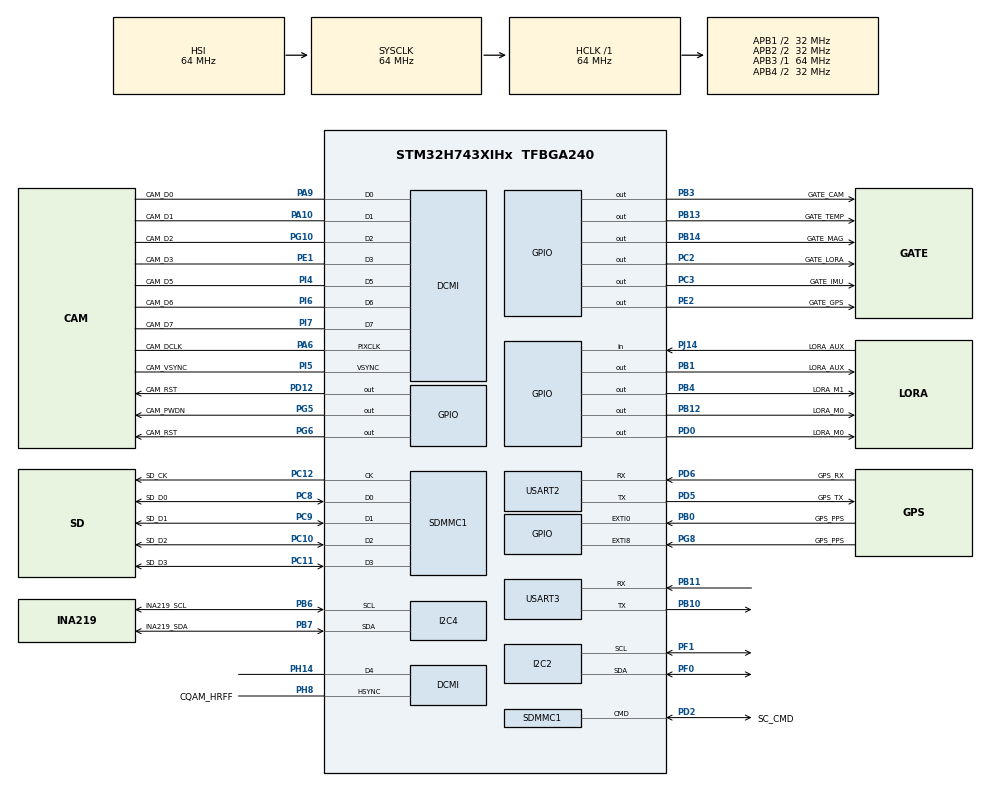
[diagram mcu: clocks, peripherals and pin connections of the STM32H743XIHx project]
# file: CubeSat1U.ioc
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CORTEX_M7.default_mode_Activation=1
Dma.DCMI.0.Direction=DMA_PERIPH_TO_MEMORY
Dma.DCMI.0.EventEnable=DISABLE
Dma.DCMI.0.FIFOMode=DMA_FIFOMODE_DISABLE
Dma.DCMI.0.Instance=DMA1_Stream0
Dma.DCMI.0.MemDataAlignment=DMA_MDATAALIGN_WORD
Dma.DCMI.0.MemInc=DMA_MINC_ENABLE
Dma.DCMI.0.Mode=DMA_NORMAL
Dma.DCMI.0.PeriphDataAlignment=DMA_PDATAALIGN_WORD
Dma.DCMI.0.PeriphInc=DMA_PINC_DISABLE
Dma.DCMI.0.Polarity=HAL_DMAMUX_REQ_GEN_RISING
Dma.DCMI.0.Priority=DMA_PRIORITY_LOW
Dma.DCMI.0.RequestNumber=1
Dma.DCMI.0.SignalID=NONE
Dma.DCMI.0.SyncEnable=DISABLE
Dma.DCMI.0.SyncPolarity=HAL_DMAMUX_SYNC_NO_EVENT
Dma.DCMI.0.SyncRequestNumber=1
Dma.DCMI.0.SyncSignalID=NONE
Dma.Request0=DCMI
FREERTOS.Tasks01=defaultTask,24,128,StartDefaultTask,Default,NULL,Dynamic,NULL,NULL
I2C2.Timing=0x00707CBB
I2C4.Timing=0x00707CBB
Mcu.Family=STM32H7
Mcu.Name=STM32H743XIHx
Mcu.Package=TFBGA240
NVIC.DMA1_Stream0_IRQn=true\:5\:0\:false\:false\:true\:true\:false\:true\:true
NVIC.PriorityGroup=NVIC_PRIORITYGROUP_4
NVIC.RTC_WKUP_IRQn=true\:5\:0\:false\:false\:true\:true\:true\:true\:true
NVIC.TIM1_UP_IRQn=true\:15\:0\:false\:false\:true\:false\:false\:true\:true
NVIC.TimeBase=TIM1_UP_IRQn
NVIC.TimeBaseIP=TIM1
NVIC.USART2_IRQn=true\:5\:0\:false\:false\:true\:true\:true\:true\:true
PA10.GPIO_Label=CAM_D1
PA10.Mode=Slave_8_bits_External_Synchro
PA10.Signal=DCMI_D1
PA6.GPIO_Label=CAM_DCLK
PA6.Mode=Slave_8_bits_External_Synchro
PA6.Signal=DCMI_PIXCLK
PA9.GPIO_Label=CAM_D0
PA9.Mode=Slave_8_bits_External_Synchro
PA9.Signal=DCMI_D0
PB0.GPIO_Label=GPS_PPS
PB0.Signal=GPXTI0
PB1.GPIO_Label=LORA_AUX
PB1.Signal=GPIO_Output
PB10.Mode=Asynchronous
PB10.Signal=USART3_TX
PB11.Mode=Asynchronous
PB11.Signal=USART3_RX
PB12.GPIO_Label=LORA_M0
PB12.Signal=GPIO_Output
PB13.GPIO_Label=GATE_TEMP
PB13.Signal=GPIO_Output
PB14.GPIO_Label=GATE_MAG
PB14.Signal=GPIO_Output
PB3\ (JTDO/TRACESWO).GPIO_Label=GATE_CAM
PB3\ (JTDO/TRACESWO).Signal=GPIO_Output
PB4\ (NJTRST).GPIO_Label=LORA_M1
PB4\ (NJTRST).Signal=GPIO_Output
PB6.GPIO_Label=INA219_SCL
PB6.Mode=I2C
PB6.Signal=I2C4_SCL
PB7.GPIO_Label=INA219_SDA
PB7.Mode=I2C
PB7.Signal=I2C4_SDA
PC10.GPIO_Label=SD_D2
PC10.Mode=SD_4_bits_Wide_bus
PC10.Signal=SDMMC1_D2
PC11.GPIO_Label=SD_D3
PC11.Mode=SD_4_bits_Wide_bus
PC11.Signal=SDMMC1_D3
PC12.GPIO_Label=SD_CK
PC12.Mode=SD_4_bits_Wide_bus
PC12.Signal=SDMMC1_CK
PC2.GPIO_Label=GATE_LORA
PC2.Signal=GPIO_Output
PC3.GPIO_Label=GATE_IMU
PC3.Signal=GPIO_Output
PC8.GPIO_Label=SD_D0
PC8.Mode=SD_4_bits_Wide_bus
PC8.Signal=SDMMC1_D0
PC9.GPIO_Label=SD_D1
PC9.Mode=SD_4_bits_Wide_bus
PC9.Signal=SDMMC1_D1
PD0.GPIO_Label=LORA_M0
PD0.Signal=GPIO_Output
PD12.GPIO_Label=CAM_RST
PD12.Signal=GPIO_Output
PD2.GPIO_Label=SC_CMD
PD2.Mode=SD_4_bits_Wide_bus
PD2.Signal=SDMMC1_CMD
PD5.GPIO_Label=GPS_TX
PD5.Mode=Asynchronous
PD5.Signal=USART2_TX
PD6.GPIO_Label=GPS_RX
PD6.Mode=Asynchronous
PD6.Signal=USART2_RX
PE1.GPIO_Label=CAM_D3
PE1.Mode=Slave_8_bits_External_Synchro
PE1.Signal=DCMI_D3
PE2.GPIO_Label=GATE_GPS
PE2.Signal=GPIO_Output
PF0.Mode=I2C
PF0.Signal=I2C2_SDA
PF1.Mode=I2C
PF1.Signal=I2C2_SCL
PG10.GPIO_Label=CAM_D2
PG10.Mode=Slave_8_bits_External_Synchro
PG10.Signal=DCMI_D2
PG5.GPIO_Label=CAM_PWDN
PG5.Signal=GPIO_Output
PG6.GPIO_Label=CAM_RST
PG6.Signal=GPIO_Output
PG8.GPIO_Label=GPS_PPS
PG8.Signal=GPXTI8
PH14.Mode=Slave_8_bits_External_Synchro
PH14.Signal=DCMI_D4
PH8.GPIO_Label=CQAM_HRFF
PH8.Mode=Slave_8_bits_External_Synchro
PH8.Signal=DCMI_HSYNC
PI4.GPIO_Label=CAM_D5
PI4.Mode=Slave_8_bits_External_Synchro
PI4.Signal=DCMI_D5
PI5.GPIO_Label=CAM_VSYNC
PI5.Mode=Slave_8_bits_External_Synchro
PI5.Signal=DCMI_VSYNC
PI6.GPIO_Label=CAM_D6
PI6.Mode=Slave_8_bits_External_Synchro
PI6.Signal=DCMI_D6
PI7.GPIO_Label=CAM_D7
PI7.Mode=Slave_8_bits_External_Synchro
PI7.Signal=DCMI_D7
PJ14.GPIO_Label=LORA_AUX
PJ14.Signal=GPIO_Input
ProjectManager.HeapSize=0x200
ProjectManager.StackSize=0x400
ProjectManager.TargetToolchain=Makefile
RCC.ADCFreq_Value=129000000
RCC.APB1Freq_Value=32000000
RCC.APB2Freq_Value=32000000
RCC.APB3Freq_Value=64000000
RCC.APB4Freq_Value=32000000
RCC.CortexFreq_Value=64000000
RCC.D2PPRE1=RCC_APB1_DIV2
RCC.D2PPRE2=RCC_APB2_DIV2
RCC.D3PPRE=RCC_APB4_DIV2
RCC.DIVM1=4
RCC.DIVN1=10
RCC.HCLKFreq_Value=64000000
RCC.PLLFRACN=0
RCC.SYSCLKFreq_VALUE=64000000
RCC.USBFreq_Value=80000000
RTC.WakeUpClock-WakeUp=RTC_WAKEUPCLOCK_CK_SPRE_16BITS
SDMMC1.ClockDiv=8
SDMMC1.ClockPowerSave=SDMMC_CLOCK_POWER_SAVE_DISABLE
SDMMC1.HardwareFlowControl=SDMMC_HARDWARE_FLOW_CONTROL_DISABLE
USART2.VirtualMode-Asynchronous=VM_ASYNC
USART3.VirtualMode-Asynchronous=VM_ASYNC
VP_FATFS_VS_SDIO.Mode=SDIO
VP_FREERTOS_VS_CMSIS_V2.Mode=CMSIS_V2
VP_MEMORYMAP_VS_MEMORYMAP.Mode=CurAppReg
VP_RTC_VS_RTC_Activate.Mode=RTC_Enabled
VP_RTC_VS_RTC_Calendar.Mode=RTC_Calendar
VP_RTC_VS_RTC_WakeUp_intern.Mode=WakeUp
VP_SYS_VS_tim1.Mode=TIM1
board=custom

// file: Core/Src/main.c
/* USER CODE BEGIN Header */
/**
  ******************************************************************************
  * @file           : main.c
  * @brief          : Main program body
  ******************************************************************************
  * @attention
  *
  * Copyright (c) 2025 STMicroelectronics.
  * All rights reserved.
  *
  * This software is licensed under terms that can be found in the LICENSE file
  * in the root directory of this software component.
  * If no LICENSE file comes with this software, it is provided AS-IS.
  *
  ******************************************************************************
  */
/* USER CODE END Header */
#include "main.h"
#include "cmsis_os.h"
#include "fatfs.h"

/* USER CODE BEGIN Includes */
#include "hardware.h"
#include "sdcard.h"
#include <stdio.h>
#include <string.h>
/* USER CODE END Includes */

/* USER CODE BEGIN PD */
FATFS fs;
/* USER CODE END PD */

DCMI_HandleTypeDef hdcmi;
DMA_HandleTypeDef hdma_dcmi;

I2C_HandleTypeDef hi2c2;
I2C_HandleTypeDef hi2c4;

RTC_HandleTypeDef hrtc;

SD_HandleTypeDef hsd1;

UART_HandleTypeDef huart2;
UART_HandleTypeDef huart3;

/* Definitions for defaultTask */
osThreadId_t defaultTaskHandle;
const osThreadAttr_t defaultTask_attributes = {
  .name = "defaultTask",
  .stack_size = 128 * 4,
  .priority = (osPriority_t) osPriorityNormal,
};

void SystemClock_Config(void);
static void MPU_Config(void);
static void MX_GPIO_Init(void);
static void MX_DMA_Init(void);
static void MX_USART2_UART_Init(void);
static void MX_I2C4_Init(void);
static void MX_I2C2_Init(void);
static void MX_DCMI_Init(void);
static void MX_SDMMC1_SD_Init(void);
static void MX_USART3_UART_Init(void);
static void MX_RTC_Init(void);
void StartDefaultTask(void *argument);

int main(void)
{

  /* MPU Configuration--------------------------------------------------------*/
  MPU_Config();

  /* MCU Configuration--------------------------------------------------------*/

  /* Reset of all peripherals, Initializes the Flash interface and the Systick. */
  HAL_Init();

  /* USER CODE BEGIN Init */
	//SCB_DisableDCache();
  /* USER CODE END Init */

  /* Configure the system clock */
  SystemClock_Config();

  /* Initialize all configured peripherals */
  MX_GPIO_Init();
  MX_DMA_Init();
  MX_USART2_UART_Init();
  MX_I2C4_Init();
  MX_I2C2_Init();
  MX_DCMI_Init();
  MX_SDMMC1_SD_Init();
  MX_FATFS_Init();
  MX_USART3_UART_Init();
  MX_RTC_Init();
  /* USER CODE BEGIN 2 */
	Hardware_UART_Printf("\r\n=== SD Card Test ===\r\n");
    Hardware_UART_Printf("NOTE: If mount fails, check:\r\n");
    Hardware_UART_Printf("  1. SD card formatted as FAT32\r\n");
    Hardware_UART_Printf("  2. Use sd_diskio_fixed.c for alignment\r\n");
    Hardware_UART_Printf("\r\n");

    // Kiểm tra SD Detect Pin (nếu có)
    Hardware_UART_Printf("0. Check SD Detect Pin...");
    // Nếu bạn có SD_DETECT_PIN, uncomment dòng sau:
    // HAL_GPIO_ReadPin(SD_DETECT_GPIO_Port, SD_DETECT_Pin);
    Hardware_UART_Printf("Skip\r\n");

    // Delay để SD card khởi động
    Hardware_UART_Printf("   Waiting for SD card ready...");
    HAL_Delay(1000);
    Hardware_UART_Printf("Done\r\n");

    // Kiểm tra BSP SD driver
    Hardware_UART_Printf("1. Check BSP SD Init...");
    uint8_t bsp_status = BSP_SD_Init();
    Hardware_UART_Printf("Result=%d ", bsp_status);

    if (bsp_status == MSD_OK) {
        Hardware_UART_Printf("(OK)\r\n");

        // Kiểm tra SD card info
        BSP_SD_CardInfo CardInfo;
        BSP_SD_GetCardInfo(&CardInfo);
        Hardware_UART_Printf("   Card Type: %lu\r\n", CardInfo.CardType);
        Hardware_UART_Printf("   Card Version: %lu\r\n", CardInfo.CardVersion);
        Hardware_UART_Printf("   Card Size: %lu MB\r\n",
               (CardInfo.LogBlockNbr * CardInfo.LogBlockSize) / (1024*1024));
    } else {
        Hardware_UART_Printf("(FAIL)\r\n");
        Hardware_UART_Printf("   Error codes:\r\n");
        Hardware_UART_Printf("   1 = MSD_ERROR (No SD card detected)\r\n");
        Hardware_UART_Printf("   2 = MSD_ERROR_SD_NOT_PRESENT\r\n");
        Hardware_UART_Printf("\r\n");
        Hardware_UART_Printf("   Solutions:\r\n");
        Hardware_UART_Printf("   - Check SD card is inserted\r\n");
        Hardware_UART_Printf("   - Check SDMMC pins in CubeMX\r\n");
        Hardware_UART_Printf("   - Try different SD card\r\n");
        Hardware_UART_Printf("   - Reduce SDMMC clock speed\r\n");
    }

    HAL_Delay(100);

    /* Detailed Debug */
    Hardware_UART_Printf("\r\n=== Detailed Mount Debug ===\r\n");

    // Test 1: Disk driver
    Hardware_UART_Printf("1. Testing disk driver...\r\n");
    DSTATUS dstatus = disk_initialize(0);
    Hardware_UART_Printf("   disk_initialize(0) = 0x%02X\r\n", dstatus);
    if (dstatus == 0) {
        Hardware_UART_Printf("   [OK] Disk ready\r\n");
    } else {
        Hardware_UART_Printf("   [FAIL] Disk error:\r\n");
        if (dstatus & 0x01) Hardware_UART_Printf("     - STA_NOINIT: Not initialized\r\n");
        if (dstatus & 0x02) Hardware_UART_Printf("     - STA_NODISK: No disk\r\n");
        if (dstatus & 0x04) Hardware_UART_Printf("     - STA_PROTECT: Write protected\r\n");
    }

    // Test 2: Mount
    Hardware_UART_Printf("\r\n2. Testing f_mount...\r\n");
    FRESULT fres = f_mount(&fs, "0:", 1);
    Hardware_UART_Printf("   f_mount result = %d\r\n", fres);

    switch(fres) {
        case FR_OK:
            Hardware_UART_Printf("   [OK] Mounted!\r\n");
            break;
        case FR_DISK_ERR:
            Hardware_UART_Printf("   [FAIL] FR_DISK_ERR (1) - Hardware error\r\n");
            break;
        case FR_NOT_READY:
            Hardware_UART_Printf("   [FAIL] FR_NOT_READY (3) - Disk not ready\r\n");
            break;
        case FR_NO_FILESYSTEM:
            Hardware_UART_Printf("   [FAIL] FR_NO_FILESYSTEM (13)\r\n");
            Hardware_UART_Printf("   *** SD CARD NOT FORMATTED AS FAT32! ***\r\n");
            Hardware_UART_Printf("   *** FORMAT IT ON PC AS FAT32 ***\r\n");
            break;
        case FR_INVALID_DRIVE:
            Hardware_UART_Printf("   [FAIL] FR_INVALID_DRIVE (11)\r\n");
            break;
        default:
            Hardware_UART_Printf("   [FAIL] Error: %d\r\n", fres);
            break;
    }

    // Test 3: Read sector (dùng static buffer để tránh lỗi alignment)
    if (dstatus == 0) {
        Hardware_UART_Printf("\r\n3. Testing disk read...\r\n");
        static uint8_t test_buffer[512] __attribute__((aligned(32)));
        DRESULT dres = disk_read(0, test_buffer, 0, 1);
        Hardware_UART_Printf("   disk_read = %d ", dres);
        if (dres == RES_OK) {
            Hardware_UART_Printf("OK\r\n");
            Hardware_UART_Printf("   Sector 0: %02X %02X %02X %02X...\r\n",
                   test_buffer[0], test_buffer[1], test_buffer[2], test_buffer[3]);
        } else {
            Hardware_UART_Printf("FAIL\r\n");
        }
    }

    Hardware_UART_Printf("\r\n======================\r\n\r\n");

    /* Test SD Card */
    sd_status_t status;
    uint8_t data[100];
    uint32_t len;

    // 2. Mount filesystem
    Hardware_UART_Printf("2. Mount SD...");
    status = SD_Init();
    if (status == SD_OK) {
        Hardware_UART_Printf("OK\r\n");
    } else {
        Hardware_UART_Printf("FAIL (%d)\r\n", status);

        // Debug chi tiết FRESULT
        Hardware_UART_Printf("\r\n=== FatFS Mount Debug ===\r\n");
        FRESULT fres = f_mount(&fs, "0:", 1);
        Hardware_UART_Printf("f_mount FRESULT = %d\r\n", fres);
        Hardware_UART_Printf("\r\nFRESULT codes:\r\n");
        Hardware_UART_Printf("  0 = FR_OK (Success)\r\n");
        Hardware_UART_Printf("  1 = FR_DISK_ERR (Hardware error)\r\n");
        Hardware_UART_Printf("  2 = FR_INT_ERR (Assert failed)\r\n");
        Hardware_UART_Printf("  3 = FR_NOT_READY (Disk not ready)\r\n");
        Hardware_UART_Printf("  4 = FR_NO_FILE\r\n");
        Hardware_UART_Printf("  5 = FR_NO_PATH\r\n");
        Hardware_UART_Printf("  6 = FR_INVALID_NAME\r\n");
        Hardware_UART_Printf("  7 = FR_DENIED\r\n");
        Hardware_UART_Printf("  8 = FR_EXIST\r\n");
        Hardware_UART_Printf("  9 = FR_INVALID_OBJECT\r\n");
        Hardware_UART_Printf(" 10 = FR_WRITE_PROTECTED\r\n");
        Hardware_UART_Printf(" 11 = FR_INVALID_DRIVE\r\n");
        Hardware_UART_Printf(" 12 = FR_NOT_ENABLED\r\n");
        Hardware_UART_Printf(" 13 = FR_NO_FILESYSTEM (Not formatted FAT)\r\n");
        Hardware_UART_Printf(" 14 = FR_MKFS_ABORTED\r\n");
        Hardware_UART_Printf(" 15 = FR_TIMEOUT\r\n");

        // Test disk_initialize
        Hardware_UART_Printf("\r\n=== Disk Driver Test ===\r\n");
        DSTATUS disk_stat = disk_initialize(0);
        Hardware_UART_Printf("disk_initialize = 0x%02X\r\n", disk_stat);
        Hardware_UART_Printf("  0x00 = OK\r\n");
        Hardware_UART_Printf("  0x01 = STA_NOINIT (Not initialized)\r\n");
        Hardware_UART_Printf("  0x02 = STA_NODISK (No disk)\r\n");
        Hardware_UART_Printf("  0x04 = STA_PROTECT (Write protected)\r\n");

        // Thử format nếu không có filesystem
        if (fres == FR_NO_FILESYSTEM) {
            Hardware_UART_Printf("\r\n=== No filesystem detected ===\r\n");
            Hardware_UART_Printf("SD card needs to be formatted as FAT32\r\n");
            Hardware_UART_Printf("Options:\r\n");
            Hardware_UART_Printf("  1. Format on PC as FAT32\r\n");
            Hardware_UART_Printf("  2. Or try f_mkfs() to format here\r\n");
        }

        while(1);
    }

    // 2. Ghi dữ liệu
    Hardware_UART_Printf("2. Write data...");
    for (int i = 0; i < 100; i++) {
        data[i] = i;
    }
    status = SD_WriteScience(data, 100);
    Hardware_UART_Printf("%s\r\n", (status == SD_OK) ? "OK" : "FAIL");

    // 3. Đọc lại
    Hardware_UART_Printf("3. Read data...");
    len = 100;
    status = SD_ReadScience(data, &len);
    if (status == SD_OK) {
        Hardware_UART_Printf("OK (%lu bytes)\r\n", len);

        // Kiểm tra dữ liệu
        uint8_t ok = 1;
        for (int i = 0; i < 100; i++) {
            if (data[i] != i) {
                ok = 0;
                Hardware_UART_Printf("   Error at byte %d\r\n", i);
                break;
            }
        }
        if (ok) Hardware_UART_Printf("   Data verified OK\r\n");
    } else {
        Hardware_UART_Printf("FAIL\r\n");
    }

    // 4. Xem thông tin
    uint32_t free = SD_GetFreeKB();
    uint32_t used = SD_GetUsedKB();
    Hardware_UART_Printf("4. Info:\r\n");
    Hardware_UART_Printf("   Free: %lu KB\r\n", free);
    Hardware_UART_Printf("   Used: %lu KB\r\n", used);

    Hardware_UART_Printf("\r\n=== Test Done ===\r\n");
  /* USER CODE END 2 */

  /* Init scheduler */
  osKernelInitialize();

  /* Create the thread(s) */
  /* creation of defaultTask */
  defaultTaskHandle = osThreadNew(StartDefaultTask, NULL, &defaultTask_attributes);

  /* Start scheduler */
  osKernelStart();

  /* We should never get here as control is now taken by the scheduler */

  /* Infinite loop */
  /* USER CODE BEGIN WHILE */
  while (1)
  {
		HAL_Delay(1000);
    /* USER CODE END WHILE */

  }
}

void SystemClock_Config(void)
{
  RCC_OscInitTypeDef RCC_OscInitStruct = {0};
  RCC_ClkInitTypeDef RCC_ClkInitStruct = {0};

  /** Supply configuration update enable
  */
  HAL_PWREx_ConfigSupply(PWR_LDO_SUPPLY);

  /** Configure the main internal regulator output voltage
  */
  __HAL_PWR_VOLTAGESCALING_CONFIG(PWR_REGULATOR_VOLTAGE_SCALE3);

  while(!__HAL_PWR_GET_FLAG(PWR_FLAG_VOSRDY)) {}

  /** Initializes the RCC Oscillators according to the specified parameters
  * in the RCC_OscInitTypeDef structure.
  */
  RCC_OscInitStruct.OscillatorType = RCC_OSCILLATORTYPE_HSI|RCC_OSCILLATORTYPE_LSI;
  RCC_OscInitStruct.HSIState = RCC_HSI_DIV1;
  RCC_OscInitStruct.HSICalibrationValue = RCC_HSICALIBRATION_DEFAULT;
  RCC_OscInitStruct.LSIState = RCC_LSI_ON;
  RCC_OscInitStruct.PLL.PLLState = RCC_PLL_ON;
  RCC_OscInitStruct.PLL.PLLSource = RCC_PLLSOURCE_HSI;
  RCC_OscInitStruct.PLL.PLLM = 4;
  RCC_OscInitStruct.PLL.PLLN = 10;
  RCC_OscInitStruct.PLL.PLLP = 2;
  RCC_OscInitStruct.PLL.PLLQ = 2;
  RCC_OscInitStruct.PLL.PLLR = 2;
  RCC_OscInitStruct.PLL.PLLRGE = RCC_PLL1VCIRANGE_3;
  RCC_OscInitStruct.PLL.PLLVCOSEL = RCC_PLL1VCOMEDIUM;
  RCC_OscInitStruct.PLL.PLLFRACN = 0;
  if (HAL_RCC_OscConfig(&RCC_OscInitStruct) != HAL_OK)
  {
    Error_Handler();
  }

  /** Initializes the CPU, AHB and APB buses clocks
  */
  RCC_ClkInitStruct.ClockType = RCC_CLOCKTYPE_HCLK|RCC_CLOCKTYPE_SYSCLK
                              |RCC_CLOCKTYPE_PCLK1|RCC_CLOCKTYPE_PCLK2
                              |RCC_CLOCKTYPE_D3PCLK1|RCC_CLOCKTYPE_D1PCLK1;
  RCC_ClkInitStruct.SYSCLKSource = RCC_SYSCLKSOURCE_HSI;
  RCC_ClkInitStruct.SYSCLKDivider = RCC_SYSCLK_DIV1;
  RCC_ClkInitStruct.AHBCLKDivider = RCC_HCLK_DIV1;
  RCC_ClkInitStruct.APB3CLKDivider = RCC_APB3_DIV1;
  RCC_ClkInitStruct.APB1CLKDivider = RCC_APB1_DIV2;
  RCC_ClkInitStruct.APB2CLKDivider = RCC_APB2_DIV2;
  RCC_ClkInitStruct.APB4CLKDivider = RCC_APB4_DIV2;

  if (HAL_RCC_ClockConfig(&RCC_ClkInitStruct, FLASH_LATENCY_1) != HAL_OK)
  {
    Error_Handler();
  }
}

static void MX_DCMI_Init(void)
{

  hdcmi.Instance = DCMI;
  hdcmi.Init.SynchroMode = DCMI_SYNCHRO_HARDWARE;
  hdcmi.Init.PCKPolarity = DCMI_PCKPOLARITY_FALLING;
  hdcmi.Init.VSPolarity = DCMI_VSPOLARITY_LOW;
  hdcmi.Init.HSPolarity = DCMI_HSPOLARITY_LOW;
  hdcmi.Init.CaptureRate = DCMI_CR_ALL_FRAME;
  hdcmi.Init.ExtendedDataMode = DCMI_EXTEND_DATA_8B;
  hdcmi.Init.JPEGMode = DCMI_JPEG_DISABLE;
  hdcmi.Init.ByteSelectMode = DCMI_BSM_ALL;
  hdcmi.Init.ByteSelectStart = DCMI_OEBS_ODD;
  hdcmi.Init.LineSelectMode = DCMI_LSM_ALL;
  hdcmi.Init.LineSelectStart = DCMI_OELS_ODD;
  if (HAL_DCMI_Init(&hdcmi) != HAL_OK)
  {
    Error_Handler();
  }

}

static void MX_I2C2_Init(void)
{

  hi2c2.Instance = I2C2;
  hi2c2.Init.Timing = 0x00707CBB;
  hi2c2.Init.OwnAddress1 = 0;
  hi2c2.Init.AddressingMode = I2C_ADDRESSINGMODE_7BIT;
  hi2c2.Init.DualAddressMode = I2C_DUALADDRESS_DISABLE;
  hi2c2.Init.OwnAddress2 = 0;
  hi2c2.Init.OwnAddress2Masks = I2C_OA2_NOMASK;
  hi2c2.Init.GeneralCallMode = I2C_GENERALCALL_DISABLE;
  hi2c2.Init.NoStretchMode = I2C_NOSTRETCH_DISABLE;
  if (HAL_I2C_Init(&hi2c2) != HAL_OK)
  {
    Error_Handler();
  }

  /** Configure Analogue filter
  */
  if (HAL_I2CEx_ConfigAnalogFilter(&hi2c2, I2C_ANALOGFILTER_ENABLE) != HAL_OK)
  {
    Error_Handler();
  }

  /** Configure Digital filter
  */
  if (HAL_I2CEx_ConfigDigitalFilter(&hi2c2, 0) != HAL_OK)
  {
    Error_Handler();
  }

}

static void MX_I2C4_Init(void)
{

  hi2c4.Instance = I2C4;
  hi2c4.Init.Timing = 0x00707CBB;
  hi2c4.Init.OwnAddress1 = 0;
  hi2c4.Init.AddressingMode = I2C_ADDRESSINGMODE_7BIT;
  hi2c4.Init.DualAddressMode = I2C_DUALADDRESS_DISABLE;
  hi2c4.Init.OwnAddress2 = 0;
  hi2c4.Init.OwnAddress2Masks = I2C_OA2_NOMASK;
  hi2c4.Init.GeneralCallMode = I2C_GENERALCALL_DISABLE;
  hi2c4.Init.NoStretchMode = I2C_NOSTRETCH_DISABLE;
  if (HAL_I2C_Init(&hi2c4) != HAL_OK)
  {
    Error_Handler();
  }

  /** Configure Analogue filter
  */
  if (HAL_I2CEx_ConfigAnalogFilter(&hi2c4, I2C_ANALOGFILTER_ENABLE) != HAL_OK)
  {
    Error_Handler();
  }

  /** Configure Digital filter
  */
  if (HAL_I2CEx_ConfigDigitalFilter(&hi2c4, 0) != HAL_OK)
  {
    Error_Handler();
  }

}

static void MX_RTC_Init(void)
{

  RTC_TimeTypeDef sTime = {0};
  RTC_DateTypeDef sDate = {0};

  /** Initialize RTC Only
  */
  hrtc.Instance = RTC;
  hrtc.Init.HourFormat = RTC_HOURFORMAT_24;
  hrtc.Init.AsynchPrediv = 127;
  hrtc.Init.SynchPrediv = 255;
  hrtc.Init.OutPut = RTC_OUTPUT_DISABLE;
  hrtc.Init.OutPutPolarity = RTC_OUTPUT_POLARITY_HIGH;
  hrtc.Init.OutPutType = RTC_OUTPUT_TYPE_OPENDRAIN;
  hrtc.Init.OutPutRemap = RTC_OUTPUT_REMAP_NONE;
  if (HAL_RTC_Init(&hrtc) != HAL_OK)
  {
    Error_Handler();
  }

  /** Initialize RTC and set the Time and Date
  */
  sTime.Hours = 0x0;
  sTime.Minutes = 0x0;
  sTime.Seconds = 0x0;
  sTime.DayLightSaving = RTC_DAYLIGHTSAVING_NONE;
  sTime.StoreOperation = RTC_STOREOPERATION_RESET;
  if (HAL_RTC_SetTime(&hrtc, &sTime, RTC_FORMAT_BCD) != HAL_OK)
  {
    Error_Handler();
  }
  sDate.WeekDay = RTC_WEEKDAY_MONDAY;
  sDate.Month = RTC_MONTH_JANUARY;
  sDate.Date = 0x1;
  sDate.Year = 0x0;

  if (HAL_RTC_SetDate(&hrtc, &sDate, RTC_FORMAT_BCD) != HAL_OK)
  {
    Error_Handler();
  }

  /** Enable the WakeUp
  */
  if (HAL_RTCEx_SetWakeUpTimer_IT(&hrtc, 0, RTC_WAKEUPCLOCK_CK_SPRE_16BITS) != HAL_OK)
  {
    Error_Handler();
  }

}

static void MX_SDMMC1_SD_Init(void)
{

  hsd1.Instance = SDMMC1;
  hsd1.Init.ClockEdge = SDMMC_CLOCK_EDGE_RISING;
  hsd1.Init.ClockPowerSave = SDMMC_CLOCK_POWER_SAVE_DISABLE;
  hsd1.Init.BusWide = SDMMC_BUS_WIDE_4B;
  hsd1.Init.HardwareFlowControl = SDMMC_HARDWARE_FLOW_CONTROL_DISABLE;
  hsd1.Init.ClockDiv = 8;

}

static void MX_USART2_UART_Init(void)
{

  huart2.Instance = USART2;
  huart2.Init.BaudRate = 115200;
  huart2.Init.WordLength = UART_WORDLENGTH_8B;
  huart2.Init.StopBits = UART_STOPBITS_1;
  huart2.Init.Parity = UART_PARITY_NONE;
  huart2.Init.Mode = UART_MODE_TX_RX;
  huart2.Init.HwFlowCtl = UART_HWCONTROL_NONE;
  huart2.Init.OverSampling = UART_OVERSAMPLING_16;
  huart2.Init.OneBitSampling = UART_ONE_BIT_SAMPLE_DISABLE;
  huart2.Init.ClockPrescaler = UART_PRESCALER_DIV1;
  huart2.AdvancedInit.AdvFeatureInit = UART_ADVFEATURE_NO_INIT;
  if (HAL_UART_Init(&huart2) != HAL_OK)
  {
    Error_Handler();
  }
  if (HAL_UARTEx_SetTxFifoThreshold(&huart2, UART_TXFIFO_THRESHOLD_1_8) != HAL_OK)
  {
    Error_Handler();
  }
  if (HAL_UARTEx_SetRxFifoThreshold(&huart2, UART_RXFIFO_THRESHOLD_1_8) != HAL_OK)
  {
    Error_Handler();
  }
  if (HAL_UARTEx_DisableFifoMode(&huart2) != HAL_OK)
  {
    Error_Handler();
  }

}

static void MX_USART3_UART_Init(void)
{

  huart3.Instance = USART3;
  huart3.Init.BaudRate = 115200;
  huart3.Init.WordLength = UART_WORDLENGTH_8B;
  huart3.Init.StopBits = UART_STOPBITS_1;
  huart3.Init.Parity = UART_PARITY_NONE;
  huart3.Init.Mode = UART_MODE_TX_RX;
  huart3.Init.HwFlowCtl = UART_HWCONTROL_NONE;
  huart3.Init.OverSampling = UART_OVERSAMPLING_16;
  huart3.Init.OneBitSampling = UART_ONE_BIT_SAMPLE_DISABLE;
  huart3.Init.ClockPrescaler = UART_PRESCALER_DIV1;
  huart3.AdvancedInit.AdvFeatureInit = UART_ADVFEATURE_NO_INIT;
  if (HAL_UART_Init(&huart3) != HAL_OK)
  {
    Error_Handler();
  }
  if (HAL_UARTEx_SetTxFifoThreshold(&huart3, UART_TXFIFO_THRESHOLD_1_8) != HAL_OK)
  {
    Error_Handler();
  }
  if (HAL_UARTEx_SetRxFifoThreshold(&huart3, UART_RXFIFO_THRESHOLD_1_8) != HAL_OK)
  {
    Error_Handler();
  }
  if (HAL_UARTEx_DisableFifoMode(&huart3) != HAL_OK)
  {
    Error_Handler();
  }

}

static void MX_DMA_Init(void)
{

  /* DMA controller clock enable */
  __HAL_RCC_DMA1_CLK_ENABLE();

  /* DMA interrupt init */
  /* DMA1_Stream0_IRQn interrupt configuration */
  HAL_NVIC_SetPriority(DMA1_Stream0_IRQn, 5, 0);
  HAL_NVIC_EnableIRQ(DMA1_Stream0_IRQn);

}

static void MX_GPIO_Init(void)
{
  GPIO_InitTypeDef GPIO_InitStruct = {0};

  /* GPIO Ports Clock Enable */
  __HAL_RCC_GPIOI_CLK_ENABLE();
  __HAL_RCC_GPIOG_CLK_ENABLE();
  __HAL_RCC_GPIOD_CLK_ENABLE();
  __HAL_RCC_GPIOC_CLK_ENABLE();
  __HAL_RCC_GPIOE_CLK_ENABLE();
  __HAL_RCC_GPIOB_CLK_ENABLE();
  __HAL_RCC_GPIOH_CLK_ENABLE();
  __HAL_RCC_GPIOJ_CLK_ENABLE();
  __HAL_RCC_GPIOA_CLK_ENABLE();
  __HAL_RCC_GPIOF_CLK_ENABLE();

  /*Configure GPIO pin Output Level */
  HAL_GPIO_WritePin(GPIOB, LORA_M1_Pin|GATE_CAM_Pin|LORA_AUXB1_Pin|LORA_M0B12_Pin
                          |GATE_TEMP_Pin|GATE_MAG_Pin, GPIO_PIN_RESET);

  /*Configure GPIO pin Output Level */
  HAL_GPIO_WritePin(GATE_GPS_GPIO_Port, GATE_GPS_Pin, GPIO_PIN_RESET);

  /*Configure GPIO pin Output Level */
  HAL_GPIO_WritePin(GPIOD, LORA_M0_Pin|CAM_RSTD12_Pin, GPIO_PIN_RESET);

  /*Configure GPIO pin Output Level */
  HAL_GPIO_WritePin(GPIOG, CAM_PWDN_Pin|CAM_RST_Pin, GPIO_PIN_RESET);

  /*Configure GPIO pin Output Level */
  HAL_GPIO_WritePin(GPIOC, GATE_LORA_Pin|GATE_IMU_Pin, GPIO_PIN_RESET);

  /*Configure GPIO pins : LORA_M1_Pin GATE_CAM_Pin LORA_AUXB1_Pin LORA_M0B12_Pin
                           GATE_TEMP_Pin GATE_MAG_Pin */
  GPIO_InitStruct.Pin = LORA_M1_Pin|GATE_CAM_Pin|LORA_AUXB1_Pin|LORA_M0B12_Pin
                          |GATE_TEMP_Pin|GATE_MAG_Pin;
  GPIO_InitStruct.Mode = GPIO_MODE_OUTPUT_PP;
  GPIO_InitStruct.Pull = GPIO_NOPULL;
  GPIO_InitStruct.Speed = GPIO_SPEED_FREQ_LOW;
  HAL_GPIO_Init(GPIOB, &GPIO_InitStruct);

  /*Configure GPIO pin : GATE_GPS_Pin */
  GPIO_InitStruct.Pin = GATE_GPS_Pin;
  GPIO_InitStruct.Mode = GPIO_MODE_OUTPUT_PP;
  GPIO_InitStruct.Pull = GPIO_NOPULL;
  GPIO_InitStruct.Speed = GPIO_SPEED_FREQ_LOW;
  HAL_GPIO_Init(GATE_GPS_GPIO_Port, &GPIO_InitStruct);

  /*Configure GPIO pin : LORA_AUX_Pin */
  GPIO_InitStruct.Pin = LORA_AUX_Pin;
  GPIO_InitStruct.Mode = GPIO_MODE_INPUT;
  GPIO_InitStruct.Pull = GPIO_NOPULL;
  HAL_GPIO_Init(LORA_AUX_GPIO_Port, &GPIO_InitStruct);

  /*Configure GPIO pins : LORA_M0_Pin CAM_RSTD12_Pin */
  GPIO_InitStruct.Pin = LORA_M0_Pin|CAM_RSTD12_Pin;
  GPIO_InitStruct.Mode = GPIO_MODE_OUTPUT_PP;
  GPIO_InitStruct.Pull = GPIO_NOPULL;
  GPIO_InitStruct.Speed = GPIO_SPEED_FREQ_LOW;
  HAL_GPIO_Init(GPIOD, &GPIO_InitStruct);

  /*Configure GPIO pin : GPS_PPS_Pin */
  GPIO_InitStruct.Pin = GPS_PPS_Pin;
  GPIO_InitStruct.Mode = GPIO_MODE_IT_RISING;
  GPIO_InitStruct.Pull = GPIO_NOPULL;
  HAL_GPIO_Init(GPS_PPS_GPIO_Port, &GPIO_InitStruct);

  /*Configure GPIO pins : CAM_PWDN_Pin CAM_RST_Pin */
  GPIO_InitStruct.Pin = CAM_PWDN_Pin|CAM_RST_Pin;
  GPIO_InitStruct.Mode = GPIO_MODE_OUTPUT_PP;
  GPIO_InitStruct.Pull = GPIO_NOPULL;
  GPIO_InitStruct.Speed = GPIO_SPEED_FREQ_LOW;
  HAL_GPIO_Init(GPIOG, &GPIO_InitStruct);

  /*Configure GPIO pins : GATE_LORA_Pin GATE_IMU_Pin */
  GPIO_InitStruct.Pin = GATE_LORA_Pin|GATE_IMU_Pin;
  GPIO_InitStruct.Mode = GPIO_MODE_OUTPUT_PP;
  GPIO_InitStruct.Pull = GPIO_NOPULL;
  GPIO_InitStruct.Speed = GPIO_SPEED_FREQ_LOW;
  HAL_GPIO_Init(GPIOC, &GPIO_InitStruct);

  /*Configure GPIO pin : GPS_PPSB0_Pin */
  GPIO_InitStruct.Pin = GPS_PPSB0_Pin;
  GPIO_InitStruct.Mode = GPIO_MODE_IT_RISING;
  GPIO_InitStruct.Pull = GPIO_NOPULL;
  HAL_GPIO_Init(GPS_PPSB0_GPIO_Port, &GPIO_InitStruct);

  /*AnalogSwitch Config */
  HAL_SYSCFG_AnalogSwitchConfig(SYSCFG_SWITCH_PC2, SYSCFG_SWITCH_PC2_CLOSE);

  /*AnalogSwitch Config */
  HAL_SYSCFG_AnalogSwitchConfig(SYSCFG_SWITCH_PC3, SYSCFG_SWITCH_PC3_CLOSE);

}

void StartDefaultTask(void *argument)
{
  for(;;)
  {
    osDelay(1);
  }
}

 /* MPU Configuration */

void MPU_Config(void)
{
  MPU_Region_InitTypeDef MPU_InitStruct = {0};

  /* Disables the MPU */
  HAL_MPU_Disable();

  /** Initializes and configures the Region and the memory to be protected
  */
  MPU_InitStruct.Enable = MPU_REGION_ENABLE;
  MPU_InitStruct.Number = MPU_REGION_NUMBER0;
  MPU_InitStruct.BaseAddress = 0x0;
  MPU_InitStruct.Size = MPU_REGION_SIZE_4GB;
  MPU_InitStruct.SubRegionDisable = 0x87;
  MPU_InitStruct.TypeExtField = MPU_TEX_LEVEL0;
  MPU_InitStruct.AccessPermission = MPU_REGION_NO_ACCESS;
  MPU_InitStruct.DisableExec = MPU_INSTRUCTION_ACCESS_DISABLE;
  MPU_InitStruct.IsShareable = MPU_ACCESS_SHAREABLE;
  MPU_InitStruct.IsCacheable = MPU_ACCESS_NOT_CACHEABLE;
  MPU_InitStruct.IsBufferable = MPU_ACCESS_NOT_BUFFERABLE;

  HAL_MPU_ConfigRegion(&MPU_InitStruct);
  /* Enables the MPU */
  HAL_MPU_Enable(MPU_PRIVILEGED_DEFAULT);

}

void HAL_TIM_PeriodElapsedCallback(TIM_HandleTypeDef *htim)
{
  if (htim->Instance == TIM1)
  {
    HAL_IncTick();
  }
}

void Error_Handler(void)
{
  __disable_irq();
  while (1)
  {
  }
}
